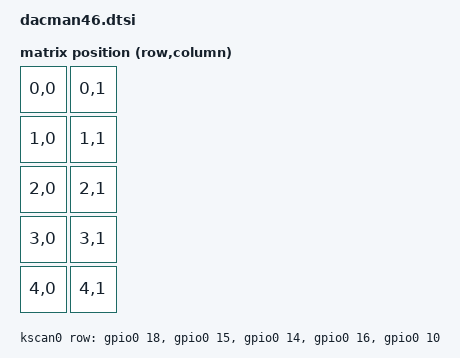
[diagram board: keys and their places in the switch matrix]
/*
 * Copyright (c) 2020 Pete Johanson
 *
 * SPDX-License-Identifier: MIT
 */

#include <dt-bindings/zmk/matrix_transform.h>

/ {
    chosen {
        zmk,kscan = &kscan0;
        zmk,matrix_transform = &zmk_matrix_transform_default;
    };

    zmk_matrix_transform_default: keymap_transform_0 {
        compatible = "zmk,matrix-transform";
        columns = <2>;
        rows = <5>;
        map = <
RC(0,0) RC(0,1)
RC(1,0) RC(1,1)
RC(2,0) RC(2,1)
RC(3,0) RC(3,1)
RC(4,0) RC(4,1)
        >;
    };

    kscan0: kscan {
        compatible = "zmk,kscan-gpio-matrix";
        wakeup-source;

        diode-direction = "col2row";
        row-gpios
            = <&gpio0 18 (GPIO_ACTIVE_HIGH | GPIO_PULL_DOWN)>
            , <&gpio0 15 (GPIO_ACTIVE_HIGH | GPIO_PULL_DOWN)>
            , <&gpio0 14 (GPIO_ACTIVE_HIGH | GPIO_PULL_DOWN)>
            , <&gpio0 16 (GPIO_ACTIVE_HIGH | GPIO_PULL_DOWN)>
            , <&gpio0 10 (GPIO_ACTIVE_HIGH | GPIO_PULL_DOWN)>
            ;

    };
};
